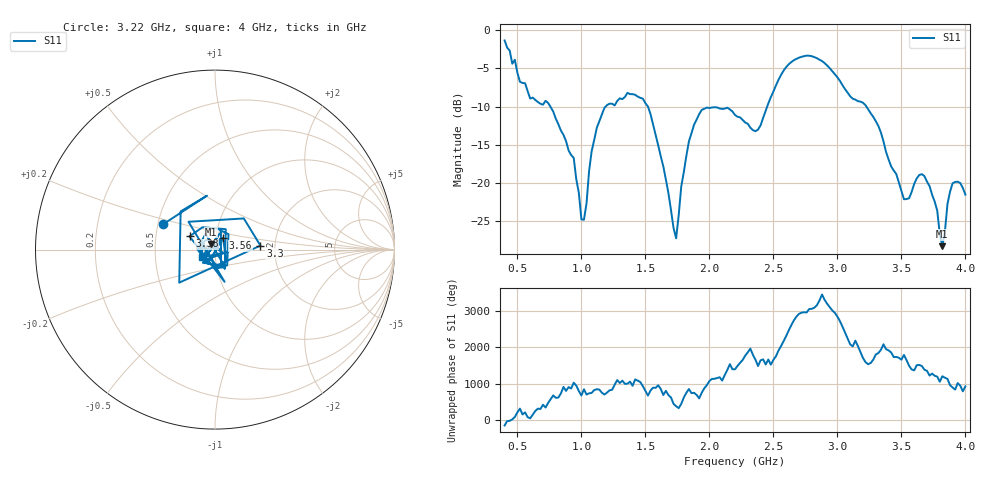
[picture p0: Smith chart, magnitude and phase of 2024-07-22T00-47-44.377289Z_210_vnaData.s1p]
!Created with skrf (http://scikit-rf.org).
# Hz S RI R 50.0
!freq ReS11 ImS11
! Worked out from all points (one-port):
!   181 points, 400 MHz to 4 GHz, reference 50 ohm
!   lowest |S11| = -28.3 dB at 3.82 GHz (marker M1), VSWR 1.08, Z = 47.6 + j2.93 ohm
!   |S11| at or under -10 dB: 757.8 MHz to 1.189 GHz (431 MHz wide, 44.3 % of centre); 1.52 GHz to 2.451 GHz (931 MHz wide, 46.9 % of centre); 3.227 GHz to end of sweep
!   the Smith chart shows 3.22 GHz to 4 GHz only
!   S11 on the Smith chart (normalised r, x): 3.22 GHz: 0.53, +0.17; 3.3 GHz: 1.68, +0.08; 3.38 GHz: 0.74, +0.11; 3.56 GHz: 1.08, +0.14; 4 GHz: 0.86, -0.07
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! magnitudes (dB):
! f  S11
! 400 MHz  -1.3
! 600 MHz  -8.9
! 740 MHz  -9.5
! 860 MHz  -13.7
! 940 MHz  -16.7
! 1 GHz  -24.8
! 1.02 GHz  -24.8
! 1.12 GHz  -12.8
! 1.3 GHz  -8.9
! 1.52 GHz  -10.0
! 1.74 GHz  -27.2
! 1.76 GHz  -24.2
! 1.84 GHz  -14.5
! 1.92 GHz  -11.0
! 2.2 GHz  -11.1
! 2.38 GHz  -13.0
! 2.66 GHz  -3.9
! 2.88 GHz  -4.0
! 3.1 GHz  -8.7
! 3.22 GHz  -9.8
! 3.3 GHz  -11.9
! 3.38 GHz  -15.9
! 3.56 GHz  -22.0
! 3.68 GHz  -19.1
! 3.78 GHz  -23.6
! 3.82 GHz  -28.3
! 3.9 GHz  -20.0
! 4 GHz  -21.5
